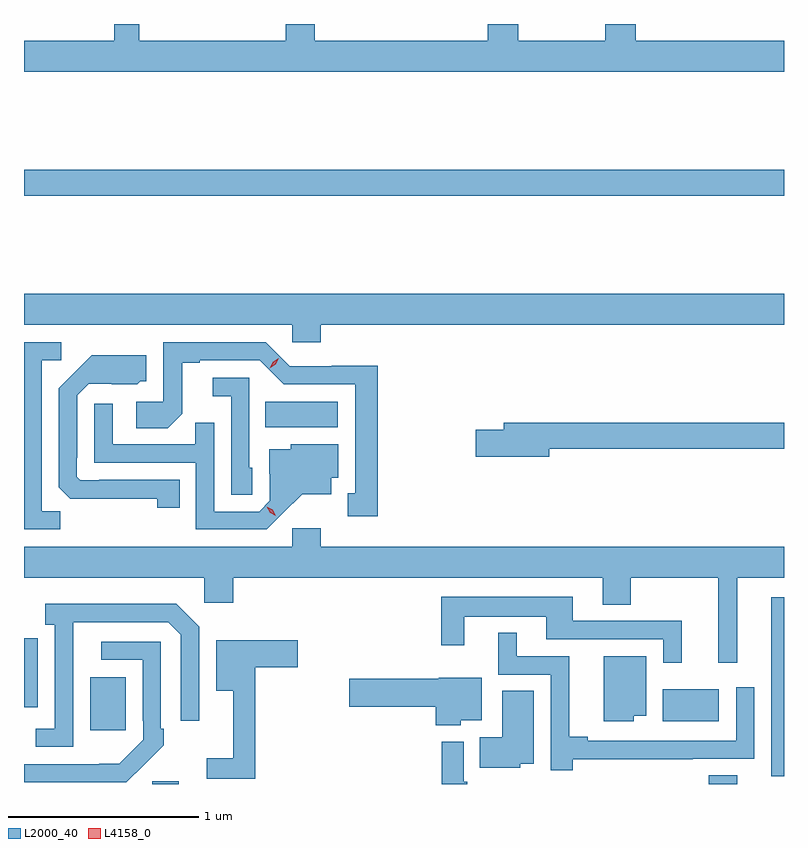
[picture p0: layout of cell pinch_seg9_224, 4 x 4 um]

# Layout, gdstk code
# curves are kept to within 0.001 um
import gdstk
lib = gdstk.Library(unit=1e-6, precision=1e-09)
def R(c, l, rs):  # rectangles x0, y0, x1, y1
    for r in rs: c.add(gdstk.rectangle(r[:2], r[2:], *l))
def P(c, l, *ps):  # polygons
    for p in ps: c.add(gdstk.Polygon(p, *l))
L2000_40 = (2000, 40)
L4158_0 = (4158, 0)

pinch_seg9_224 = lib.new_cell('pinch_seg9_224')
R(pinch_seg9_224, L2000_40, [(613.185,1208.655,613.324,1208.67), (616.112,1208.655,616.264,1208.702), (616.442,1208.697,616.509,1209.637), (612.857,1208.937,613.045,1209.217), (615.872,1208.984,616.165,1209.154), (613.78,1210.532,614.161,1210.666), (612.509,1211.752,616.509,1211.888)])
P(pinch_seg9_224, L2000_40, [(614.951,1212.568),(614.039,1212.568),(614.039,1212.655),(613.886,1212.655),(613.886,1212.568),(613.115,1212.568),(613.115,1212.655),(612.985,1212.655),(612.985,1212.568),(612.509,1212.568),(612.509,1212.404),(616.509,1212.404),(616.509,1212.568),(615.728,1212.568),(615.728,1212.655),(615.568,1212.655),(615.568,1212.568),(615.111,1212.568),(615.111,1212.655),(614.951,1212.655)],
  [(614.072,1211.072),(616.509,1211.072),(616.509,1211.236),(612.509,1211.236),(612.509,1211.072),(613.92,1211.072),(613.92,1210.979),(614.072,1210.979)],
  [(612.699,1210.091),(612.603,1210.091),(612.603,1210.884),(612.706,1210.884),(612.706,1210.98),(612.509,1210.98),(612.509,1209.996),(612.699,1209.996)],
  [(614.371,1210.856),(614.13,1210.856),(614.13,1210.854),(613.908,1210.854),(613.782,1210.98),(613.242,1210.98),(613.242,1210.668),(613.101,1210.668),(613.101,1210.528),(613.265,1210.528),(613.341,1210.604),(613.341,1210.872),(613.435,1210.872),(613.435,1210.884),(613.749,1210.884),(613.875,1210.758),(614.252,1210.758),(614.252,1210.185),(614.213,1210.185),(614.213,1210.065),(614.371,1210.065)],
  [(613.328,1210.257),(612.904,1210.257),(612.904,1210.254),(612.804,1210.254),(612.786,1210.272),(612.786,1210.372),(612.789,1210.372),(612.789,1210.701),(612.849,1210.761),(613.106,1210.76),(613.122,1210.776),(613.153,1210.776),(613.153,1210.912),(612.865,1210.912),(612.693,1210.738),(612.693,1210.216),(612.752,1210.157),(613.21,1210.156),(613.21,1210.11),(613.328,1210.11)],
  [(613.71,1210.32),(613.695,1210.32),(613.695,1210.794),(613.503,1210.794),(613.503,1210.697),(613.599,1210.697),(613.599,1210.177),(613.71,1210.177)],
  [(613.87,1210.079),(613.973,1210.181),(614.125,1210.181),(614.125,1210.268),(614.164,1210.268),(614.164,1210.444),(613.914,1210.444),(613.914,1210.417),(613.799,1210.417),(613.799,1210.288),(613.803,1210.288),(613.803,1210.146),(613.746,1210.089),(613.509,1210.089),(613.509,1210.556),(613.411,1210.556),(613.411,1210.443),(612.975,1210.443),(612.975,1210.657),(612.879,1210.657),(612.879,1210.347),(613.413,1210.347),(613.413,1209.996),(613.786,1209.996)],
  [(615.274,1210.42),(616.509,1210.42),(616.509,1210.556),(615.035,1210.556),(615.035,1210.52),(614.886,1210.52),(614.886,1210.378),(615.274,1210.378)],
  [(616.262,1209.74),(616.509,1209.74),(616.509,1209.904),(614.072,1209.904),(614.072,1210),(613.92,1210),(613.92,1209.904),(612.509,1209.904),(612.509,1209.74),(613.458,1209.74),(613.458,1209.609),(613.61,1209.609),(613.61,1209.74),(615.554,1209.74),(615.554,1209.598),(615.702,1209.598),(615.702,1209.74),(616.163,1209.74),(616.163,1209.294),(616.262,1209.294)],
  [(615.971,1209.513),(615.397,1209.513),(615.397,1209.64),(614.706,1209.64),(614.706,1209.384),(614.827,1209.384),(614.827,1209.536),(615.257,1209.536),(615.257,1209.417),(615.873,1209.417),(615.873,1209.294),(615.971,1209.294)],
  [(612.768,1209.507),(613.269,1209.507),(613.335,1209.441),(613.335,1208.988),(613.431,1208.988),(613.431,1209.483),(613.31,1209.604),(612.621,1209.604),(612.621,1209.494),(612.672,1209.494),(612.672,1208.946),(612.57,1208.946),(612.57,1208.85),(612.768,1208.85)],
  [(615.398,1208.786),(616.028,1208.786),(616.028,1208.787),(616.353,1208.787),(616.353,1209.163),(616.257,1209.163),(616.257,1208.883),(615.475,1208.883),(615.475,1208.903),(615.38,1208.903),(615.38,1209.327),(615.103,1209.327),(615.103,1209.451),(615.005,1209.451),(615.005,1209.231),(615.282,1209.231),(615.282,1208.727),(615.398,1208.727)],
  [(612.582,1209.314),(612.581,1209.314),(612.581,1209.423),(612.509,1209.423),(612.509,1209.06),(612.582,1209.06)],
  [(613.727,1209.269),(613.951,1209.269),(613.951,1209.411),(613.52,1209.411),(613.52,1209.146),(613.61,1209.146),(613.61,1208.791),(613.47,1208.791),(613.47,1208.682),(613.727,1208.682)],
  [(613.139,1208.755),(613.14,1208.754),(613.245,1208.859),(613.245,1208.947),(613.23,1208.947),(613.23,1209.405),(612.915,1209.405),(612.915,1209.309),(613.134,1209.309),(613.134,1208.989),(613.137,1208.989),(613.137,1208.889),(613.009,1208.761),(612.509,1208.76),(612.509,1208.664),(613.048,1208.664)],
  [(615.718,1209.014),(615.784,1209.014),(615.784,1209.328),(615.56,1209.328),(615.56,1208.984),(615.718,1208.984)],
  [(614.808,1208.99),(614.917,1208.99),(614.917,1209.214),(614.691,1209.214),(614.691,1209.209),(614.22,1209.209),(614.22,1209.062),(614.675,1209.062),(614.675,1208.963),(614.808,1208.963)],
  [(615.12,1208.762),(615.193,1208.762),(615.193,1209.146),(615.026,1209.146),(615.026,1208.902),(614.908,1208.902),(614.908,1208.741),(615.12,1208.741)],
  [(614.843,1208.668),(614.823,1208.668),(614.823,1208.878),(614.707,1208.878),(614.707,1208.655),(614.843,1208.655)])
P(pinch_seg9_224, L4158_0, [(613.802,1210.844),(613.802,1210.844),(613.82,1210.877),(613.851,1210.896),(613.851,1210.896),(613.851,1210.896),(613.834,1210.863),(613.803,1210.844)],
  [(613.834,1210.068),(613.804,1210.083),(613.786,1210.113),(613.786,1210.113),(613.787,1210.113),(613.817,1210.098),(613.834,1210.068),(613.834,1210.068)])

lib.write_gds('pinch_seg9_224.gds')
